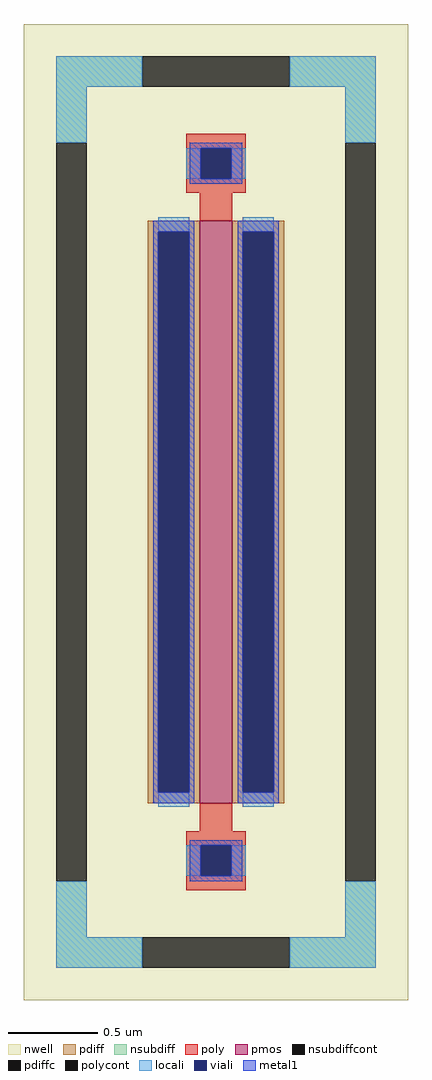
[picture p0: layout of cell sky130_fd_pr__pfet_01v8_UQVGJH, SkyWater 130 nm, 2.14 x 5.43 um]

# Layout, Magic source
magic
tech sky130A
magscale 1 2
<< nwell >>
rect -214 -543 214 543
<< pmos >>
rect -18 -324 18 324
<< pdiff >>
rect -76 312 -18 324
rect -76 -312 -64 312
rect -30 -312 -18 312
rect -76 -324 -18 -312
rect 18 312 76 324
rect 18 -312 30 312
rect 64 -312 76 312
rect 18 -324 76 -312
<< pdiffc >>
rect -64 -312 -30 312
rect 30 -312 64 312
<< nsubdiff >>
rect -178 473 -82 507
rect 82 473 178 507
rect -178 411 -144 473
rect 144 411 178 473
rect -178 -473 -144 -411
rect 144 -473 178 -411
rect -178 -507 -82 -473
rect 82 -507 178 -473
<< nsubdiffcont >>
rect -82 473 82 507
rect -178 -411 -144 411
rect 144 -411 178 411
rect -82 -507 82 -473
<< poly >>
rect -33 405 33 421
rect -33 371 -17 405
rect 17 371 33 405
rect -33 355 33 371
rect -18 324 18 355
rect -18 -355 18 -324
rect -33 -371 33 -355
rect -33 -405 -17 -371
rect 17 -405 33 -371
rect -33 -421 33 -405
<< polycont >>
rect -17 371 17 405
rect -17 -405 17 -371
<< locali >>
rect -178 473 -82 507
rect 82 473 178 507
rect -178 411 -144 473
rect 144 411 178 473
rect -33 371 -17 405
rect 17 371 33 405
rect -64 312 -30 328
rect -64 -328 -30 -312
rect 30 312 64 328
rect 30 -328 64 -312
rect -33 -405 -17 -371
rect 17 -405 33 -371
rect -178 -473 -144 -411
rect 144 -473 178 -411
rect -178 -507 -82 -473
rect 82 -507 178 -473
<< viali >>
rect -17 371 17 405
rect -64 -312 -30 312
rect 30 -312 64 312
rect -17 -405 17 -371
<< metal1 >>
rect -29 405 29 411
rect -29 371 -17 405
rect 17 371 29 405
rect -29 365 29 371
rect -70 312 -24 324
rect -70 -312 -64 312
rect -30 -312 -24 312
rect -70 -324 -24 -312
rect 24 312 70 324
rect 24 -312 30 312
rect 64 -312 70 312
rect 24 -324 70 -312
rect -29 -371 29 -365
rect -29 -405 -17 -371
rect 17 -405 29 -371
rect -29 -411 29 -405
<< properties >>
string FIXED_BBOX -161 -490 161 490
string gencell sky130_fd_pr__pfet_01v8
string library sky130
string parameters w 3.24 l 0.18 m 1 nf 1 diffcov 100 polycov 100 guard 1 glc 1 grc 1 gtc 1 gbc 1 tbcov 100 rlcov 100 topc 1 botc 1 poverlap 0 doverlap 1 lmin 0.15 wmin 0.42 compatible {sky130_fd_pr__pfet_01v8  sky130_fd_pr__pfet_01v8_lvt sky130_fd_pr__pfet_01v8_hvt  sky130_fd_pr__pfet_g5v0d10v5} full_metal 1 viasrc 100 viadrn 100 viagate 100 viagb 0 viagr 0 viagl 0 viagt 0
<< end >>
